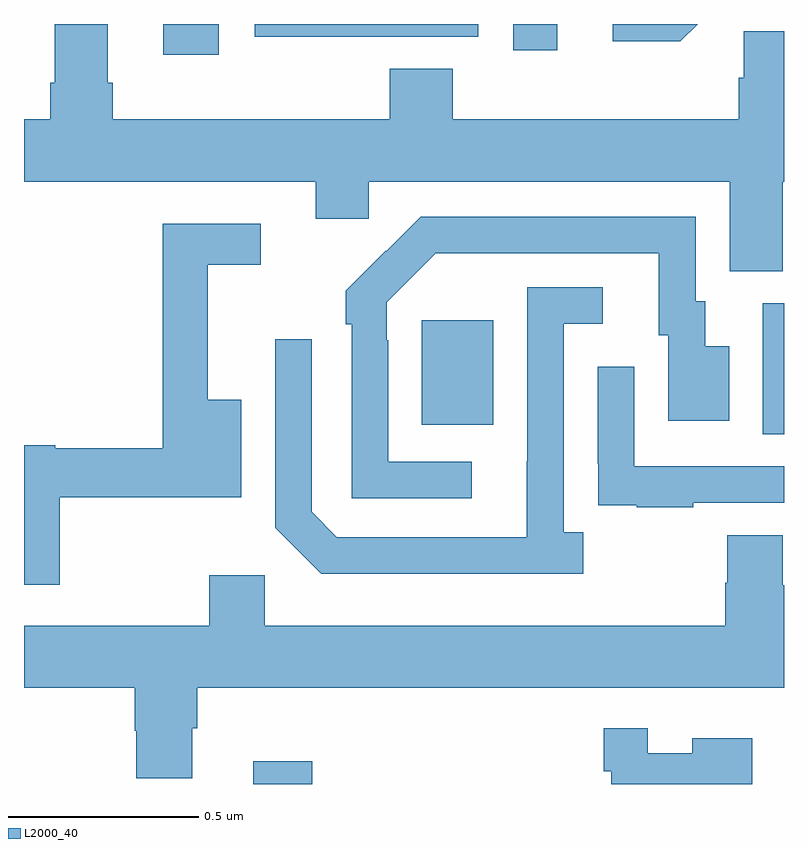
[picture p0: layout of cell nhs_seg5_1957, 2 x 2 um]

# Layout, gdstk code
import gdstk
lib = gdstk.Library(unit=1e-6, precision=1e-09)
def R(c, l, rs):  # rectangles x0, y0, x1, y1
    for r in rs: c.add(gdstk.rectangle(r[:2], r[2:], *l))
def P(c, l, *ps):  # polygons
    for p in ps: c.add(gdstk.Polygon(p, *l))
L2000_40 = (2000, 40)

nhs_seg5_1957 = lib.new_cell('nhs_seg5_1957')
R(nhs_seg5_1957, L2000_40, [(137.603,897.799,137.759,897.859), (138.944,898.72,139,899.064), (138.047,898.745,138.235,899.02), (137.366,899.718,137.512,899.799), (138.288,899.73,138.403,899.799)])
P(nhs_seg5_1957, L2000_40, [(137.768,899.286),(137.907,899.286),(137.907,899.384),(138.857,899.384),(138.857,899.149),(138.997,899.149),(138.997,899.384),(139,899.384),(139,899.78),(138.894,899.78),(138.894,899.657),(138.881,899.657),(138.881,899.548),(138.128,899.548),(138.128,899.681),(137.963,899.681),(137.963,899.548),(137.234,899.548),(137.234,899.644),(137.221,899.644),(137.221,899.799),(137.081,899.799),(137.081,899.644),(137.069,899.644),(137.069,899.548),(137,899.548),(137,899.384),(137.768,899.384)],
  [(138.773,899.799),(138.549,899.799),(138.549,899.753),(138.727,899.753)],
  [(137.879,899.766),(138.195,899.766),(138.195,899.799),(137.607,899.799),(137.607,899.765),(137.879,899.765)],
  [(138.178,898.647),(137.958,898.647),(137.958,898.967),(137.955,898.967),(137.955,899.067),(138.084,899.196),(138.671,899.196),(138.671,898.98),(138.695,898.98),(138.695,898.755),(138.856,898.755),(138.856,898.951),(138.793,898.951),(138.793,899.07),(138.768,899.07),(138.768,899.292),(138.044,899.292),(137.953,899.201),(137.952,899.202),(137.847,899.097),(137.847,899.009),(137.862,899.009),(137.862,898.551),(138.178,898.551)],
  [(137.094,898.554),(137.572,898.554),(137.572,898.81),(137.483,898.81),(137.483,899.166),(137.623,899.166),(137.623,899.274),(137.365,899.274),(137.365,898.682),(137.082,898.682),(137.082,898.69),(137,898.69),(137,898.323),(137.094,898.323)],
  [(138.472,898.462),(138.42,898.462),(138.42,899.01),(138.523,899.01),(138.523,899.106),(138.324,899.106),(138.324,898.649),(138.323,898.649),(138.323,898.449),(137.823,898.449),(137.757,898.515),(137.757,898.969),(137.661,898.969),(137.661,898.473),(137.782,898.352),(138.472,898.352)],
  [(138.761,898.539),(139,898.539),(139,898.635),(138.606,898.635),(138.606,898.897),(138.51,898.897),(138.51,898.642),(138.511,898.642),(138.511,898.533),(138.613,898.533),(138.613,898.527),(138.761,898.527)],
  [(137.443,897.946),(137.456,897.946),(137.456,898.052),(139,898.052),(139,898.322),(138.997,898.322),(138.997,898.454),(138.85,898.454),(138.85,898.329),(138.845,898.329),(138.845,898.216),(137.634,898.216),(137.634,898.348),(137.488,898.348),(137.488,898.216),(137,898.216),(137,898.052),(137.291,898.052),(137.291,897.939),(137.296,897.939),(137.296,897.814),(137.443,897.814)],
  [(138.916,897.919),(138.758,897.919),(138.758,897.88),(138.642,897.88),(138.642,897.946),(138.526,897.946),(138.526,897.833),(138.546,897.833),(138.546,897.799),(138.916,897.799)])

lib.write_gds('nhs_seg5_1957.gds')
